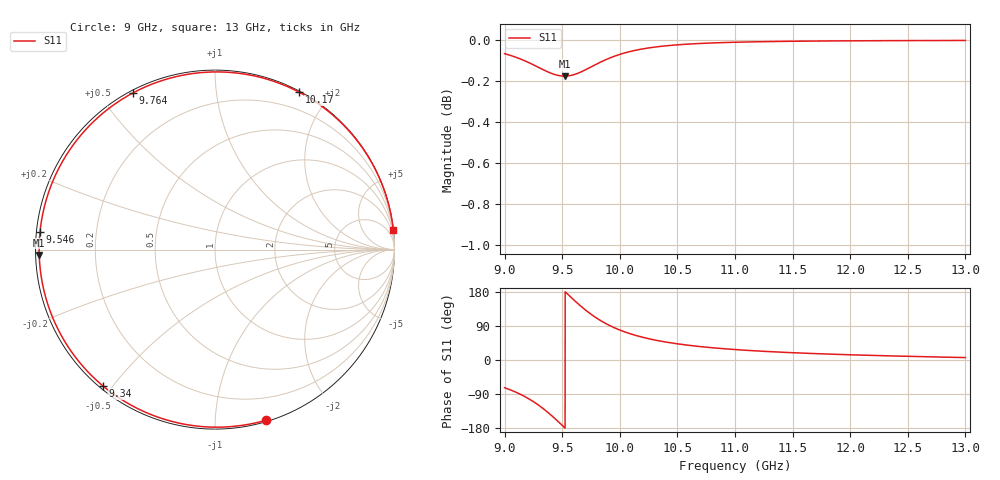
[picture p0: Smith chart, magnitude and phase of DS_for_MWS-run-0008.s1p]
! TOUCHSTONE file generated by CST DESIGN STUDIO
! Date and time: Tue Feb  4 15:48:34 2025
! Project name: C:\Work\MatlabApps\UnitCellOptimizationMatlab\CST\unitcell.cst
! Tree item: Tasks\Sweep1\SPara1\S-Parameters
! Header version: 2024
! Port assignment regex: !\s*Touchstone port\s*([0-9]+)\s*=\s*(CST MWS port|CST DES external port|CST DES block port)\s*(.+)\s* \(\"(.*)\"\)(\s*mode\s*([0-9]+))?.*
! Touchstone port assignment:
! Touchstone port 1 = CST DES external port 1 ("")
# GHz S MA R 50
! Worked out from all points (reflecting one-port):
!   4001 points, 9 GHz to 13 GHz, reference 50 ohm
!   lowest |S11| = -0.2 dB at 9.52 GHz (marker M1), VSWR 98.24, Z = 0.509 - j0.757 ohm
!   phase of S11 starts at -73 deg and turns -280 deg over the sweep
!   S11 on the Smith chart (normalised r, x): 9 GHz: 0.01, -1.35; 9.34 GHz: 0.01, -0.47; 9.546 GHz: 0.01, +0.05; 9.764 GHz: 0.01, +0.60; 10.17 GHz: 0.01, +1.67; 13 GHz: 0, +18
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9  0.9922 -73.2
9.093  0.9904 -84.3
9.198  0.9876 -100.3
9.272  0.9854 -114.4
9.34  0.9832 -129.5
9.384  0.9819 -140.4
9.429  0.9808 -152.4
9.465  0.9802 -162.4
9.5  0.9799 -172.5
9.52  0.9798 -178.3
9.546  0.9799 174.2
9.6  0.9806 158.8
9.661  0.9821 142.2
9.712  0.9836 129.5
9.764  0.9854 117.7
9.814  0.987 107.6
9.868  0.9886 97.9
10  0.9918 79.1
10.084  0.9934 69.9
10.174  0.9946 61.9
10.323  0.9961 51.6
10.5  0.9972 42.7
10.722  0.998 34.6
11  0.9986 27.6
11.5  0.9991 19.2
12  0.9994 13.7
12.5  0.9995 9.7
13  0.9996 6.4
